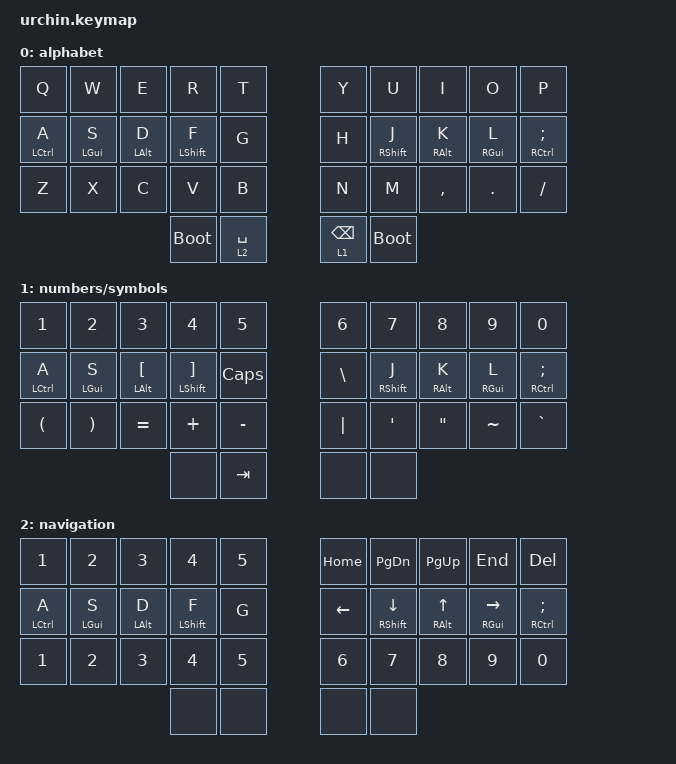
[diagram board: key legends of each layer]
#include <behaviors.dtsi>
#include <dt-bindings/zmk/keys.h>
#include <dt-bindings/zmk/bt.h>
#include <dt-bindings/zmk/outputs.h>

/ {
  behaviors {
    hrm: behavior_home_row_mod {
      compatible = "zmk,behavior-hold-tap";
      #binding-cells = <2>;
      bindings = <&kp &kp>;
      flavor = "tap-preferred";
      tapping-term-ms = <200>;
      quick-tap-ms = <150>;
    };
  };
  combos {
		compatible = "zmk,combos";
    escape_left {
      timeout-ms = <50>;
      key-positions = <10 11 12 13>;
      bindings = <&kp ESC>;
    };
    escape_right {
      timeout-ms = <50>;
      key-positions = <16 17 18 19>;
      bindings = <&kp ESC>;
    };
    enter_left {
      timeout-ms = <50>;
      key-positions = <11 12>;
      bindings = <&kp ENTER>;
    };
    enter_right {
      timeout-ms = <50>;
      key-positions = <17 18>;
      bindings = <&kp ENTER>;
    };
  };
	keymap {
		compatible = "zmk,keymap";
		default_layer {
			label = "alphabet";
			bindings = <
			&kp Q &kp W &kp E &kp R &kp T &kp Y &kp U &kp I &kp O &kp P 
			&hrm LCTRL A &hrm LGUI S &hrm LALT D &hrm LSHIFT F &kp G &kp H &hrm RSHIFT J &hrm RALT K &hrm RGUI L &hrm RCTRL SEMI
			&kp Z &kp X &kp C &kp V &kp B &kp N &kp M &kp COMMA &kp DOT &kp SLASH
			&bootloader &lt 2 SPACE &lt 1 BSPC &bootloader
			>;
		};
    num_layer {
			label = "numbers/symbols";
			bindings = <
			&kp N1 &kp N2 &kp N3 &kp N4 &kp N5 &kp N6 &kp N7 &kp N8 &kp N9 &kp N0 
			&hrm LCTRL A &hrm LGUI S &hrm LALT LBKT &hrm LSHIFT RBKT &kp CAPSLOCK &kp BSLH &hrm RSHIFT J &hrm RALT K &hrm RGUI L &hrm RCTRL SEMI
			&kp LPAR &kp RPAR &kp EQUAL &kp PLUS &kp MINUS &kp PIPE &kp SQT &kp DQT &kp TILDE &kp GRAVE
			&none &kp TAB &none &none
			>;
		};
    nav_layer {
			label = "navigation";
			bindings = <
			&kp N1 &kp N2 &kp N3 &kp N4 &kp N5 &kp HOME &kp PG_DN &kp PG_UP &kp END &kp DEL
			&hrm LCTRL A &hrm LGUI S &hrm LALT D &hrm LSHIFT F &kp G &kp LEFT &hrm RSHIFT DOWN &hrm RALT UP &hrm RGUI RIGHT &hrm RCTRL SEMI
			&kp N1 &kp N2 &kp N3 &kp N4 &kp N5 &kp N6 &kp N7 &kp N8 &kp N9 &kp N0 
			&none &none &none &none
			>;
		};
	};
};
